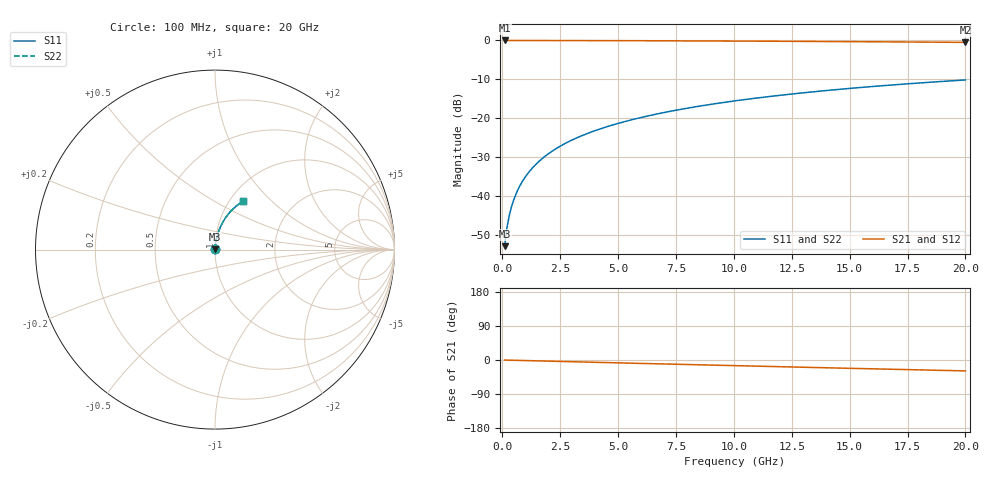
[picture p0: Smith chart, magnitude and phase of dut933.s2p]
! Touchstone file exported from HFSS 2026.1.0
!  File:  C:/ffzhzh/LocalFiles/Ansys_Project_Files/temp_train_BSMRDL_933_1783171937_43440.aedt
!  Generated:  09:33:33 PM Jul  4, 2026
!  Design:  BSMRDL
!  Project:  temp_train_BSMRDL_933_1783171937_43440
! Variables:
!  h_bsmrdl = 5.38um
!  h_ox = 20um
!  h_rdl = 5um
!  h_sub = 80um
!  h_tmrdl = 5um
!  h_tsv = 80um
!  h_via = 3um
!  l_bsmrdl = 365.15um
!  l_sub = 765.15um
!  l_tmrdl = 200um
!  m_sub = 200um
!  pitch = 58.26um
!  r_tsv = 6um
!  s_tmrdl = 10um
!  w_bsmrdl = 20.48um
!  w_sub = 500um
!  w_tmrdl = 12um
!  x_tsv_center1 = 206um
!  x_tsv_center2 = 591.63um
!  x_tsv_center3 = 803.63um
!  x_tsv_center4 = 1189.26um
!  x_tsv_center5 = 1401.26um
!  x_tsv_center6 = 1786.89um
# GHz S MA R 50.000000
! Terminal data exported
! Port[1] = BSM_RDL1_1_T1
! Port[2] = BSM_RDL1_1_T2
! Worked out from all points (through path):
!   200 points, 100 MHz to 20 GHz, reference 50 ohm
!   highest |S21| = -0.01 dB at 100 MHz (marker M1); lowest = -0.5 dB at 20 GHz (marker M2)
!   group delay of S21, straight-line fit = 4 ps
!   lowest |S11| = -52.9 dB at 100 MHz (marker M3), VSWR 1.00, Z = 50.1 + j0.185 ohm
!   |S11| at or under -10 dB: start of sweep to end of sweep
!   |S22| runs from -52.9 to -10.2 dB; largest |S21 - S12| = 4.3e-15
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0.1  0.002266 54.5  0.9987 -0.2  0.9987 -0.2  0.002266 54.5
! Gamma 0 0 0 0
! Port Impedance 50 0 50 0
0.2  0.003895 68.9  0.9986 -0.3  0.9986 -0.3  0.003895 68.9
0.3  0.005587 74.7  0.9986 -0.5  0.9986 -0.5  0.005587 74.7
0.4  0.007298 77.7  0.9985 -0.6  0.9985 -0.6  0.007298 77.7
0.5  0.009021 79.6  0.9985 -0.8  0.9985 -0.8  0.009021 79.6
0.7  0.01249 81.8  0.9984 -1.1  0.9984 -1.1  0.01249 81.8
0.8  0.01423 82.4  0.9983 -1.2  0.9983 -1.2  0.01423 82.4
1  0.01771 83.2  0.9982 -1.5  0.9982 -1.5  0.01771 83.2
1.2  0.02119 83.6  0.9981 -1.8  0.9981 -1.8  0.02119 83.6
1.4  0.02467 83.7  0.9979 -2.1  0.9979 -2.1  0.02467 83.7
1.7  0.02988 83.8  0.9977 -2.6  0.9977 -2.6  0.02988 83.8
2  0.03507 83.7  0.9974 -3.1  0.9974 -3.1  0.03507 83.7
2.7  0.0471 83.0  0.9966 -4.1  0.9966 -4.1  0.0471 83.0
3.5  0.06069 82.1  0.9954 -5.3  0.9954 -5.3  0.06069 82.1
4.2  0.07246 81.2  0.9943 -6.4  0.9943 -6.4  0.07246 81.2
5  0.08579 80.2  0.9929 -7.6  0.9929 -7.6  0.08579 80.2
6.8  0.1153 77.8  0.9893 -10.2  0.9893 -10.2  0.1153 77.8
8.3  0.1395 75.7  0.9857 -12.4  0.9857 -12.4  0.1395 75.7
10.1  0.1679 73.3  0.9808 -15.0  0.9808 -15.0  0.1679 73.3
13.4  0.2182 68.8  0.9702 -19.7  0.9702 -19.7  0.2182 68.8
16.7  0.2658 64.4  0.9578 -24.3  0.9578 -24.3  0.2658 64.4
20  0.3103 60.0  0.944 -28.8  0.944 -28.8  0.3103 60.0
